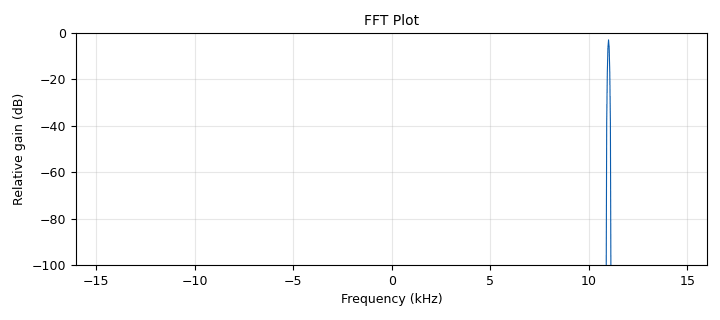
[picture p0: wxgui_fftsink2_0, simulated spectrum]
<?xml version='1.0' encoding='utf-8'?>
<?grc format='1' created='3.7.10'?>
<flow_graph>
<block>
<key>options</key>
<param><key>id</key><value>ssb_rx_step2</value></param>
<param><key>author</key><value>Alexandros-Apostolos A. Boulogeorgos</value></param>
<param><key>description</key><value>A simple example of multiplication of two sinusoids signals.</value></param>
<param><key>generate_options</key><value>wx_gui</value></param>
<param><key>title</key><value>Complex multiplication</value></param>
</block>
<block>
<key>variable</key>
<param><key>id</key><value>amp</value></param>
<param><key>value</key><value>1</value></param>
</block>
<block>
<key>variable</key>
<param><key>id</key><value>f1</value></param>
<param><key>value</key><value>10000</value></param>
</block>
<block>
<key>variable</key>
<param><key>id</key><value>f2</value></param>
<param><key>value</key><value>1000</value></param>
</block>
<block>
<key>variable</key>
<param><key>id</key><value>offset</value></param>
<param><key>value</key><value>0</value></param>
</block>
<block>
<key>variable</key>
<param><key>id</key><value>samp_rate</value></param>
<param><key>value</key><value>32000</value></param>
</block>
<block>
<key>analog_sig_source_x</key>
<param><key>id</key><value>analog_sig_source_x_0</value></param>
<param><key>amp</key><value>amp</value></param>
<param><key>freq</key><value>f1</value></param>
<param><key>offset</key><value>offset</value></param>
<param><key>type</key><value>complex</value></param>
<param><key>samp_rate</key><value>samp_rate</value></param>
<param><key>waveform</key><value>analog.GR_COS_WAVE</value></param>
</block>
<block>
<key>analog_sig_source_x</key>
<param><key>id</key><value>analog_sig_source_x_0_0</value></param>
<param><key>amp</key><value>amp</value></param>
<param><key>freq</key><value>f2</value></param>
<param><key>offset</key><value>offset</value></param>
<param><key>type</key><value>complex</value></param>
<param><key>samp_rate</key><value>samp_rate</value></param>
<param><key>waveform</key><value>analog.GR_COS_WAVE</value></param>
</block>
<block>
<key>blocks_multiply_xx</key>
<param><key>id</key><value>blocks_multiply_xx_0</value></param>
<param><key>type</key><value>complex</value></param>
</block>
<block>
<key>blocks_throttle</key>
<param><key>id</key><value>blocks_throttle_0</value></param>
<param><key>samples_per_second</key><value>samp_rate</value></param>
<param><key>type</key><value>complex</value></param>
</block>
<block>
<key>note</key>
<param><key>id</key><value>note_0</value></param>
<param><key>note</key><value>You should observe a single output at 11 kHz.</value></param>
</block>
<block>
<key>wxgui_fftsink2</key>
<param><key>id</key><value>wxgui_fftsink2_0</value></param>
<param><key>avg_alpha</key><value>0</value></param>
<param><key>average</key><value>False</value></param>
<param><key>baseband_freq</key><value>0</value></param>
<param><key>fft_size</key><value>1024</value></param>
<param><key>freqvar</key><value>None</value></param>
<param><key>peak_hold</key><value>False</value></param>
<param><key>ref_level</key><value>0</value></param>
<param><key>ref_scale</key><value>2.0</value></param>
<param><key>fft_rate</key><value>15</value></param>
<param><key>samp_rate</key><value>samp_rate</value></param>
<param><key>title</key><value>FFT Plot</value></param>
<param><key>type</key><value>complex</value></param>
<param><key>win</key><value>None</value></param>
<param><key>y_divs</key><value>10</value></param>
<param><key>y_per_div</key><value>10</value></param>
</block>
<connection><source_block_id>analog_sig_source_x_0</source_block_id><sink_block_id>blocks_multiply_xx_0</sink_block_id><source_key>0</source_key><sink_key>0</sink_key></connection>
<connection><source_block_id>analog_sig_source_x_0_0</source_block_id><sink_block_id>blocks_multiply_xx_0</sink_block_id><source_key>0</source_key><sink_key>1</sink_key></connection>
<connection><source_block_id>blocks_multiply_xx_0</source_block_id><sink_block_id>blocks_throttle_0</sink_block_id><source_key>0</source_key><sink_key>0</sink_key></connection>
<connection><source_block_id>blocks_throttle_0</source_block_id><sink_block_id>wxgui_fftsink2_0</sink_block_id><source_key>0</source_key><sink_key>0</sink_key></connection>
</flow_graph>
